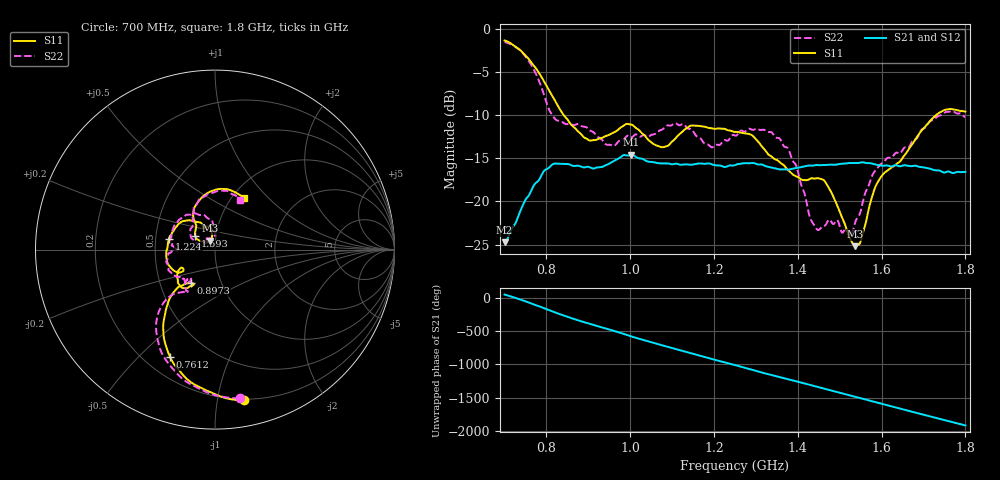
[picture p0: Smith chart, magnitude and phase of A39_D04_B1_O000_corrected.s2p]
! Created with skrf 1.9.0 (http://scikit-rf.org).
# Hz S RI R 50.0
!freq ReS11 ImS11 ReS21 ImS21 ReS12 ImS12 ReS22 ImS22
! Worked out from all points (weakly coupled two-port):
!   1601 points, 700 MHz to 1.8 GHz, reference 50 ohm
!   highest |S21| = -14.60 dB at 1.002 GHz (marker M1); lowest = -24.7 dB at 700 MHz (marker M2)
!   lowest |S11| = -25.2 dB at 1.537 GHz (marker M3), VSWR 1.12, Z = 47.3 + j4.65 ohm
!   |S11| at or under -10 dB: 841.1 MHz to 1.73 GHz (888.9 MHz wide, 69.1 % of centre)
!   |S22| runs from -24.1 to -1.5 dB; largest |S21 - S12| = 0.0034
!   S11 on the Smith chart (normalised r, x): 700 MHz: 0.19, -1.20; 761.2 MHz: 0.30, -0.62; 897.3 MHz: 0.72, -0.28; 1.224 GHz: 0.59, +0.08; 1.593 GHz: 0.79, +0.12; 1.8 GHz: 1.13, +0.74
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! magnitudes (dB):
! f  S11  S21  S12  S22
! 700 MHz  -1.4  -24.7  -24.5  -1.5
! 761.2 MHz  -3.7  -19.0  -18.9  -4.0
! 818.2 MHz  -8.1  -15.6  -15.7  -10.3
! 883.6 MHz  -12.3  -16.0  -15.9  -11.3
! 897.3 MHz  -12.8  -16.0  -16.1  -11.5
! 946.1 MHz  -12.4  -15.7  -15.7  -13.4
! 1.002 GHz  -11.1  -14.6  -14.7  -12.6
! 1.067 GHz  -13.6  -15.6  -15.5  -11.9
! 1.145 GHz  -11.2  -15.8  -15.8  -11.6
! 1.193 GHz  -11.5  -15.7  -15.6  -13.7
! 1.224 GHz  -11.6  -16.0  -16.0  -12.9
! 1.25 GHz  -11.9  -15.8  -15.7  -12.4
! 1.357 GHz  -15.5  -16.3  -16.2  -12.7
! 1.396 GHz  -17.1  -16.1  -16.1  -15.9
! 1.434 GHz  -17.3  -15.9  -15.8  -22.3
! 1.469 GHz  -18.0  -15.8  -15.8  -22.5
! 1.525 GHz  -24.3  -15.5  -15.5  -24.1
! 1.537 GHz  -25.2  -15.5  -15.5  -22.5
! 1.593 GHz  -17.6  -15.8  -15.8  -15.9
! 1.617 GHz  -16.3  -15.9  -15.8  -14.9
! 1.733 GHz  -9.9  -16.4  -16.4  -10.2
! 1.8 GHz  -9.6  -16.6  -16.6  -10.2
